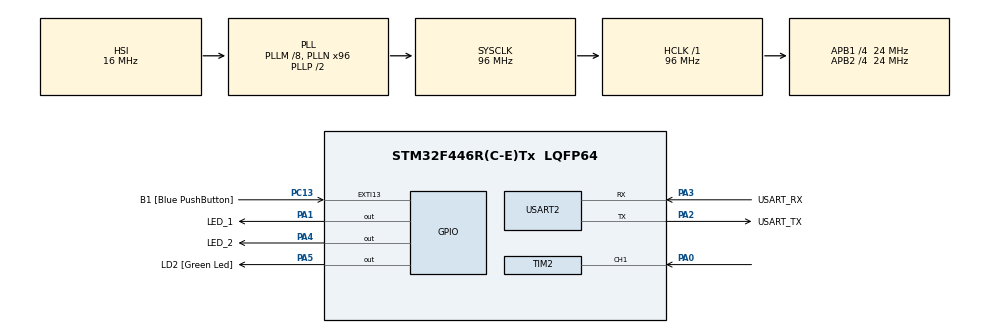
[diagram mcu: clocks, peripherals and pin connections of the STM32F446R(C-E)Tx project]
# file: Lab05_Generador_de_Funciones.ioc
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Mcu.Family=STM32F4
Mcu.Name=STM32F446R(C-E)Tx
Mcu.Package=LQFP64
NVIC.PriorityGroup=NVIC_PRIORITYGROUP_0
NVIC.TIM2_IRQn=true\:0\:0\:false\:false\:true\:true\:true\:true
NVIC.TIM6_DAC_IRQn=true\:0\:0\:false\:false\:true\:true\:true\:true
NVIC.TIM7_IRQn=true\:0\:0\:false\:false\:true\:true\:true\:true
PA0-WKUP.Signal=S_TIM2_CH1_ETR
PA1.GPIO_Label=LED_1
PA1.Signal=GPIO_Output
PA13.GPIO_Label=TMS
PA13.Mode=Serial_Wire
PA13.Signal=SYS_JTMS-SWDIO
PA14.GPIO_Label=TCK
PA14.Mode=Serial_Wire
PA14.Signal=SYS_JTCK-SWCLK
PA2.GPIO_Label=USART_TX
PA2.Mode=Asynchronous
PA2.Signal=USART2_TX
PA3.GPIO_Label=USART_RX
PA3.Mode=Asynchronous
PA3.Signal=USART2_RX
PA4.GPIO_Label=LED_2
PA4.Signal=GPIO_Output
PA5.GPIO_Label=LD2 [Green Led]
PA5.Signal=GPIO_Output
PB3.GPIO_Label=SWO
PB3.Signal=SYS_JTDO-SWO
PC13.GPIO_Label=B1 [Blue PushButton]
PC13.GPIO_ModeDefaultEXTI=GPIO_MODE_IT_FALLING
PC13.Signal=GPXTI13
PC14-OSC32_IN.Mode=LSE-External-Oscillator
PC14-OSC32_IN.Signal=RCC_OSC32_IN
PC15-OSC32_OUT.Mode=LSE-External-Oscillator
PC15-OSC32_OUT.Signal=RCC_OSC32_OUT
PH0-OSC_IN.Mode=HSE-External-Oscillator
PH0-OSC_IN.Signal=RCC_OSC_IN
PH1-OSC_OUT.Mode=HSE-External-Oscillator
PH1-OSC_OUT.Signal=RCC_OSC_OUT
ProjectManager.HeapSize=0x200
ProjectManager.StackSize=0x400
ProjectManager.TargetToolchain=STM32CubeIDE
RCC.48MHZClocksFreq_Value=84000000
RCC.AHBFreq_Value=96000000
RCC.APB1CLKDivider=RCC_HCLK_DIV4
RCC.APB1Freq_Value=24000000
RCC.APB1TimFreq_Value=48000000
RCC.APB2CLKDivider=RCC_HCLK_DIV4
RCC.APB2Freq_Value=24000000
RCC.APB2TimFreq_Value=48000000
RCC.CortexFreq_Value=96000000
RCC.FLatency-AdvancedSettings=FLASH_LATENCY_3
RCC.HCLKFreq_Value=96000000
RCC.HSE_VALUE=8000000
RCC.HSI_VALUE=16000000
RCC.PLLM=8
RCC.PLLN=96
RCC.SYSCLKFreq_VALUE=96000000
RCC.SYSCLKSource=RCC_SYSCLKSOURCE_PLLCLK
RCC.USBFreq_Value=96000000
RCC.VCOOutputFreq_Value=192000000
SH.S_TIM2_CH1_ETR.0=TIM2_CH1,Input_Capture1_from_TI1
TIM2.AutoReloadPreload=TIM_AUTORELOAD_PRELOAD_ENABLE
TIM2.Channel-Input_Capture1_from_TI1=TIM_CHANNEL_1
TIM2.CounterMode=TIM_COUNTERMODE_UP
TIM2.Prescaler=48-1
TIM6.AutoReloadPreload=TIM_AUTORELOAD_PRELOAD_ENABLE
TIM6.Period=10000-1
TIM6.Prescaler=4800-1
TIM6.TIM_MasterOutputTrigger=TIM_TRGO_UPDATE
TIM7.AutoReloadPreload=TIM_AUTORELOAD_PRELOAD_ENABLE
TIM7.Period=250-1
TIM7.Prescaler=48000-1
TIM7.TIM_MasterOutputTrigger=TIM_TRGO_UPDATE
USART2.VirtualMode=VM_ASYNC
VP_TIM2_VS_ClockSourceINT.Mode=Internal
VP_TIM6_VS_ClockSourceINT.Mode=Enable_Timer
VP_TIM7_VS_ClockSourceINT.Mode=Enable_Timer
board=NUCLEO-F446RE

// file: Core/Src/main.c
/* USER CODE BEGIN Header */
/**
  ******************************************************************************
  * @file           : main.c
  * @brief          : Main program body
  ******************************************************************************
  * @attention
  *
  * Copyright (c) 2026 STMicroelectronics.
  * All rights reserved.
  *
  * This software is licensed under terms that can be found in the LICENSE file
  * in the root directory of this software component.
  * If no LICENSE file comes with this software, it is provided AS-IS.
  *
  ******************************************************************************
  */
/* USER CODE END Header */
#include "main.h"

/* USER CODE BEGIN Includes */
#include <stdio.h>
#include <string.h>
/* USER CODE END Includes */

/* USER CODE BEGIN PTD */
#define ftimclk 1000000
/* USER CODE END PTD */

TIM_HandleTypeDef htim2;
TIM_HandleTypeDef htim6;
TIM_HandleTypeDef htim7;

UART_HandleTypeDef huart2;

/* USER CODE BEGIN PV */
uint8_t flagMedicion = 0;
volatile uint32_t flanco1 = 0;
volatile uint32_t flanco2 = 0;
volatile uint8_t numFlanco = 0;
volatile uint32_t delta = 0;
volatile float frecuencia = 0;
uint8_t buffer[10];
uint8_t temp[10];
uint8_t dato = 80;
uint8_t datoArray[20];
uint8_t indx = 0;
/* USER CODE END PV */

void SystemClock_Config(void);
static void MX_GPIO_Init(void);
static void MX_USART2_UART_Init(void);
static void MX_TIM2_Init(void);
static void MX_TIM6_Init(void);
static void MX_TIM7_Init(void);
/* USER CODE BEGIN PFP */
void HAL_TIM_IC_CaptureCallback(TIM_HandleTypeDef *htim);
/* USER CODE END PFP */

int main(void)
{

  /* MCU Configuration--------------------------------------------------------*/

  /* Reset of all peripherals, Initializes the Flash interface and the Systick. */
  HAL_Init();

  /* Configure the system clock */
  SystemClock_Config();

  /* Initialize all configured peripherals */
  MX_GPIO_Init();
  MX_USART2_UART_Init();
  MX_TIM2_Init();
  MX_TIM6_Init();
  MX_TIM7_Init();
  /* USER CODE BEGIN 2 */
  HAL_TIM_IC_Start_IT(&htim2, TIM_CHANNEL_1);
  HAL_TIM_Base_Start_IT(&htim6);
  HAL_TIM_Base_Start_IT(&htim7);
  /* USER CODE END 2 */

  /* Infinite loop */
  /* USER CODE BEGIN WHILE */
  while (1)
  {
	  while(flagMedicion == 0);
	  flagMedicion = 0;

	  delta = flanco2 - flanco1;
	  frecuencia = (ftimclk) / (float) delta;

	  sprintf(datoArray, "%.2f\r\n", frecuencia);
	  HAL_UART_Transmit(&huart2, datoArray, strlen(datoArray), 1000);

	  HAL_TIM_IC_Start_IT(&htim2, TIM_CHANNEL_1);
    /* USER CODE END WHILE */

  }
}

void SystemClock_Config(void)
{
  RCC_OscInitTypeDef RCC_OscInitStruct = {0};
  RCC_ClkInitTypeDef RCC_ClkInitStruct = {0};

  /** Configure the main internal regulator output voltage
  */
  __HAL_RCC_PWR_CLK_ENABLE();
  __HAL_PWR_VOLTAGESCALING_CONFIG(PWR_REGULATOR_VOLTAGE_SCALE3);

  /** Initializes the RCC Oscillators according to the specified parameters
  * in the RCC_OscInitTypeDef structure.
  */
  RCC_OscInitStruct.OscillatorType = RCC_OSCILLATORTYPE_HSI;
  RCC_OscInitStruct.HSIState = RCC_HSI_ON;
  RCC_OscInitStruct.HSICalibrationValue = RCC_HSICALIBRATION_DEFAULT;
  RCC_OscInitStruct.PLL.PLLState = RCC_PLL_ON;
  RCC_OscInitStruct.PLL.PLLSource = RCC_PLLSOURCE_HSI;
  RCC_OscInitStruct.PLL.PLLM = 8;
  RCC_OscInitStruct.PLL.PLLN = 96;
  RCC_OscInitStruct.PLL.PLLP = RCC_PLLP_DIV2;
  RCC_OscInitStruct.PLL.PLLQ = 2;
  RCC_OscInitStruct.PLL.PLLR = 2;
  if (HAL_RCC_OscConfig(&RCC_OscInitStruct) != HAL_OK)
  {
    Error_Handler();
  }

  /** Initializes the CPU, AHB and APB buses clocks
  */
  RCC_ClkInitStruct.ClockType = RCC_CLOCKTYPE_HCLK|RCC_CLOCKTYPE_SYSCLK
                              |RCC_CLOCKTYPE_PCLK1|RCC_CLOCKTYPE_PCLK2;
  RCC_ClkInitStruct.SYSCLKSource = RCC_SYSCLKSOURCE_PLLCLK;
  RCC_ClkInitStruct.AHBCLKDivider = RCC_SYSCLK_DIV1;
  RCC_ClkInitStruct.APB1CLKDivider = RCC_HCLK_DIV4;
  RCC_ClkInitStruct.APB2CLKDivider = RCC_HCLK_DIV4;

  if (HAL_RCC_ClockConfig(&RCC_ClkInitStruct, FLASH_LATENCY_3) != HAL_OK)
  {
    Error_Handler();
  }
}

static void MX_TIM2_Init(void)
{

  TIM_ClockConfigTypeDef sClockSourceConfig = {0};
  TIM_MasterConfigTypeDef sMasterConfig = {0};
  TIM_IC_InitTypeDef sConfigIC = {0};

  htim2.Instance = TIM2;
  htim2.Init.Prescaler = 48-1;
  htim2.Init.CounterMode = TIM_COUNTERMODE_UP;
  htim2.Init.Period = 4294967295;
  htim2.Init.ClockDivision = TIM_CLOCKDIVISION_DIV1;
  htim2.Init.AutoReloadPreload = TIM_AUTORELOAD_PRELOAD_ENABLE;
  if (HAL_TIM_Base_Init(&htim2) != HAL_OK)
  {
    Error_Handler();
  }
  sClockSourceConfig.ClockSource = TIM_CLOCKSOURCE_INTERNAL;
  if (HAL_TIM_ConfigClockSource(&htim2, &sClockSourceConfig) != HAL_OK)
  {
    Error_Handler();
  }
  if (HAL_TIM_IC_Init(&htim2) != HAL_OK)
  {
    Error_Handler();
  }
  sMasterConfig.MasterOutputTrigger = TIM_TRGO_RESET;
  sMasterConfig.MasterSlaveMode = TIM_MASTERSLAVEMODE_DISABLE;
  if (HAL_TIMEx_MasterConfigSynchronization(&htim2, &sMasterConfig) != HAL_OK)
  {
    Error_Handler();
  }
  sConfigIC.ICPolarity = TIM_INPUTCHANNELPOLARITY_RISING;
  sConfigIC.ICSelection = TIM_ICSELECTION_DIRECTTI;
  sConfigIC.ICPrescaler = TIM_ICPSC_DIV1;
  sConfigIC.ICFilter = 0;
  if (HAL_TIM_IC_ConfigChannel(&htim2, &sConfigIC, TIM_CHANNEL_1) != HAL_OK)
  {
    Error_Handler();
  }

}

static void MX_TIM6_Init(void)
{

  TIM_MasterConfigTypeDef sMasterConfig = {0};

  htim6.Instance = TIM6;
  htim6.Init.Prescaler = 4800-1;
  htim6.Init.CounterMode = TIM_COUNTERMODE_UP;
  htim6.Init.Period = 10000-1;
  htim6.Init.AutoReloadPreload = TIM_AUTORELOAD_PRELOAD_ENABLE;
  if (HAL_TIM_Base_Init(&htim6) != HAL_OK)
  {
    Error_Handler();
  }
  sMasterConfig.MasterOutputTrigger = TIM_TRGO_UPDATE;
  sMasterConfig.MasterSlaveMode = TIM_MASTERSLAVEMODE_DISABLE;
  if (HAL_TIMEx_MasterConfigSynchronization(&htim6, &sMasterConfig) != HAL_OK)
  {
    Error_Handler();
  }

}

static void MX_TIM7_Init(void)
{

  TIM_MasterConfigTypeDef sMasterConfig = {0};

  htim7.Instance = TIM7;
  htim7.Init.Prescaler = 48000-1;
  htim7.Init.CounterMode = TIM_COUNTERMODE_UP;
  htim7.Init.Period = 250-1;
  htim7.Init.AutoReloadPreload = TIM_AUTORELOAD_PRELOAD_ENABLE;
  if (HAL_TIM_Base_Init(&htim7) != HAL_OK)
  {
    Error_Handler();
  }
  sMasterConfig.MasterOutputTrigger = TIM_TRGO_UPDATE;
  sMasterConfig.MasterSlaveMode = TIM_MASTERSLAVEMODE_DISABLE;
  if (HAL_TIMEx_MasterConfigSynchronization(&htim7, &sMasterConfig) != HAL_OK)
  {
    Error_Handler();
  }

}

static void MX_USART2_UART_Init(void)
{

  huart2.Instance = USART2;
  huart2.Init.BaudRate = 115200;
  huart2.Init.WordLength = UART_WORDLENGTH_8B;
  huart2.Init.StopBits = UART_STOPBITS_1;
  huart2.Init.Parity = UART_PARITY_NONE;
  huart2.Init.Mode = UART_MODE_TX_RX;
  huart2.Init.HwFlowCtl = UART_HWCONTROL_NONE;
  huart2.Init.OverSampling = UART_OVERSAMPLING_16;
  if (HAL_UART_Init(&huart2) != HAL_OK)
  {
    Error_Handler();
  }

}

static void MX_GPIO_Init(void)
{
  GPIO_InitTypeDef GPIO_InitStruct = {0};

  /* GPIO Ports Clock Enable */
  __HAL_RCC_GPIOC_CLK_ENABLE();
  __HAL_RCC_GPIOH_CLK_ENABLE();
  __HAL_RCC_GPIOA_CLK_ENABLE();
  __HAL_RCC_GPIOB_CLK_ENABLE();

  /*Configure GPIO pin Output Level */
  HAL_GPIO_WritePin(GPIOA, LED_1_Pin|LED_2_Pin|LD2_Pin, GPIO_PIN_RESET);

  /*Configure GPIO pin : B1_Pin */
  GPIO_InitStruct.Pin = B1_Pin;
  GPIO_InitStruct.Mode = GPIO_MODE_IT_FALLING;
  GPIO_InitStruct.Pull = GPIO_NOPULL;
  HAL_GPIO_Init(B1_GPIO_Port, &GPIO_InitStruct);

  /*Configure GPIO pins : LED_1_Pin LED_2_Pin LD2_Pin */
  GPIO_InitStruct.Pin = LED_1_Pin|LED_2_Pin|LD2_Pin;
  GPIO_InitStruct.Mode = GPIO_MODE_OUTPUT_PP;
  GPIO_InitStruct.Pull = GPIO_NOPULL;
  GPIO_InitStruct.Speed = GPIO_SPEED_FREQ_LOW;
  HAL_GPIO_Init(GPIOA, &GPIO_InitStruct);

}

/* USER CODE BEGIN 4 */
void HAL_TIM_IC_CaptureCallback(TIM_HandleTypeDef *htim)
{
	if(numFlanco == 0) {
		flanco1 = HAL_TIM_ReadCapturedValue(htim, TIM_CHANNEL_1);
		numFlanco = 1;
	}
	else {
		flanco2 = HAL_TIM_ReadCapturedValue(htim, TIM_CHANNEL_1);
		HAL_TIM_IC_Stop(&htim2, TIM_CHANNEL_1);

		numFlanco = 0;
		flagMedicion = 1;
	}
}

void HAL_TIM_PeriodElapsedCallback(TIM_HandleTypeDef *htim)
{
	if(htim == &htim6)
	{
		HAL_GPIO_TogglePin(LED_1_GPIO_Port, LED_1_Pin);
		HAL_TIM_Base_Start_IT(&htim6);
	}

	if(htim == &htim7)
	{
		HAL_GPIO_TogglePin(LED_2_GPIO_Port, LED_2_Pin);
		HAL_TIM_Base_Start_IT(&htim7);
	}
}

/* USER CODE END 4 */

void Error_Handler(void)
{
  __disable_irq();
  while (1)
  {
  }
}
